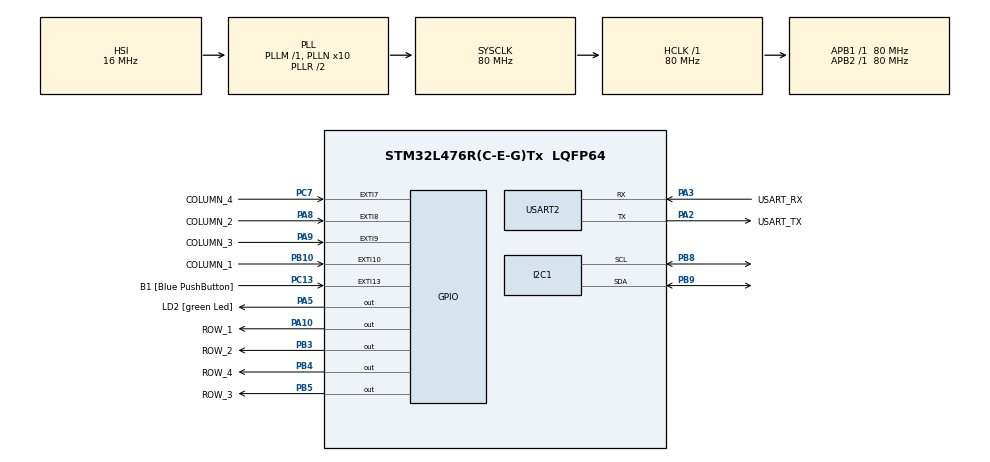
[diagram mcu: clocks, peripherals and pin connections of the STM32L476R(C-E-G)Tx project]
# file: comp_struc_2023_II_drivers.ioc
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I2C1.Timing=0x10909CEC
Mcu.Family=STM32L4
Mcu.Name=STM32L476R(C-E-G)Tx
Mcu.Package=LQFP64
NVIC.EXTI15_10_IRQn=true\:0\:0\:false\:false\:true\:true\:true\:true
NVIC.EXTI9_5_IRQn=true\:0\:0\:false\:false\:true\:true\:true\:true
NVIC.PriorityGroup=NVIC_PRIORITYGROUP_4
NVIC.USART2_IRQn=true\:0\:0\:false\:false\:true\:true\:true\:true
PA10.GPIO_Label=ROW_1
PA10.Signal=GPIO_Output
PA13\ (JTMS-SWDIO).GPIO_Label=TMS
PA13\ (JTMS-SWDIO).Mode=Serial_Wire
PA13\ (JTMS-SWDIO).Signal=SYS_JTMS-SWDIO
PA14\ (JTCK-SWCLK).GPIO_Label=TCK
PA14\ (JTCK-SWCLK).Mode=Serial_Wire
PA14\ (JTCK-SWCLK).Signal=SYS_JTCK-SWCLK
PA2.GPIO_Label=USART_TX
PA2.GPIO_Mode=GPIO_MODE_AF_PP
PA2.GPIO_PuPd=GPIO_NOPULL
PA2.GPIO_Speed=GPIO_SPEED_FREQ_VERY_HIGH
PA2.Mode=Asynchronous
PA2.Signal=USART2_TX
PA3.GPIO_Label=USART_RX
PA3.GPIO_Mode=GPIO_MODE_AF_PP
PA3.GPIO_PuPd=GPIO_NOPULL
PA3.GPIO_Speed=GPIO_SPEED_FREQ_VERY_HIGH
PA3.Mode=Asynchronous
PA3.Signal=USART2_RX
PA5.GPIO_Label=LD2 [green Led]
PA5.GPIO_ModeDefaultOutputPP=GPIO_MODE_OUTPUT_PP
PA5.GPIO_PuPd=GPIO_NOPULL
PA5.GPIO_Speed=GPIO_SPEED_FREQ_LOW
PA5.Signal=GPIO_Output
PA8.GPIO_Label=COLUMN_2
PA8.GPIO_PuPd=GPIO_PULLDOWN
PA8.Signal=GPXTI8
PA9.GPIO_Label=COLUMN_3
PA9.GPIO_PuPd=GPIO_PULLDOWN
PA9.Signal=GPXTI9
PB10.GPIO_Label=COLUMN_1
PB10.GPIO_PuPd=GPIO_PULLDOWN
PB10.Signal=GPXTI10
PB3\ (JTDO-TRACESWO).GPIO_Label=ROW_2
PB3\ (JTDO-TRACESWO).Signal=GPIO_Output
PB4\ (NJTRST).GPIO_Label=ROW_4
PB4\ (NJTRST).Signal=GPIO_Output
PB5.GPIO_Label=ROW_3
PB5.Signal=GPIO_Output
PB8.Mode=I2C
PB8.Signal=I2C1_SCL
PB9.Mode=I2C
PB9.Signal=I2C1_SDA
PC13.GPIO_Label=B1 [Blue PushButton]
PC13.GPIO_ModeDefaultEXTI=GPIO_MODE_IT_FALLING
PC13.GPIO_PuPd=GPIO_NOPULL
PC13.Signal=GPXTI13
PC14-OSC32_IN\ (PC14).Mode=LSE-External-Oscillator
PC14-OSC32_IN\ (PC14).Signal=RCC_OSC32_IN
PC15-OSC32_OUT\ (PC15).Mode=LSE-External-Oscillator
PC15-OSC32_OUT\ (PC15).Signal=RCC_OSC32_OUT
PC7.GPIO_Label=COLUMN_4
PC7.GPIO_PuPd=GPIO_PULLDOWN
PC7.Signal=GPXTI7
PH0-OSC_IN\ (PH0).Signal=RCC_OSC_IN
PH1-OSC_OUT\ (PH1).Signal=RCC_OSC_OUT
ProjectManager.HeapSize=0x200
ProjectManager.StackSize=0x400
ProjectManager.TargetToolchain=STM32CubeIDE
RCC.ADCFreq_Value=64000000
RCC.AHBFreq_Value=80000000
RCC.APB1Freq_Value=80000000
RCC.APB1TimFreq_Value=80000000
RCC.APB2Freq_Value=80000000
RCC.APB2TimFreq_Value=80000000
RCC.CortexFreq_Value=80000000
RCC.HCLKFreq_Value=80000000
RCC.HSE_VALUE=8000000
RCC.HSI_VALUE=16000000
RCC.MSI_VALUE=4000000
RCC.PLLN=10
RCC.PLLSourceVirtual=RCC_PLLSOURCE_HSI
RCC.PREFETCH_ENABLE=1
RCC.SYSCLKFreq_VALUE=80000000
RCC.SYSCLKSource=RCC_SYSCLKSOURCE_PLLCLK
RCC.USBFreq_Value=64000000
RCC.VCOOutputFreq_Value=160000000
USART2.VirtualMode-Asynchronous=VM_ASYNC
board=NUCLEO-L476RG

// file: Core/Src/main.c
/* USER CODE BEGIN Header */
/**
  ******************************************************************************
  * @file           : main.c
  * @brief          : Main program body
  ******************************************************************************
  * @attention
  *
  * Copyright (c) 2023 STMicroelectronics.
  * All rights reserved.
  *
  * This software is licensed under terms that can be found in the LICENSE file
  * in the root directory of this software component.
  * If no LICENSE file comes with this software, it is provided AS-IS.
  *
  ******************************************************************************
  */
/* USER CODE END Header */
#include "main.h"

/* USER CODE BEGIN Includes */
#include "ring_buffer.h"
#include <stdio.h>
#include "ssd1306.h"
#include "ssd1306_fonts.h"
/* USER CODE END Includes */

I2C_HandleTypeDef hi2c1;

UART_HandleTypeDef huart2;

/* USER CODE BEGIN PV */
uint8_t rx_buffer[16];
ring_buffer_t ring_buffer_uart_rx;

uint8_t rx_data;

uint8_t key_event = 0xFF;

/* USER CODE END PV */

void SystemClock_Config(void);
static void MX_GPIO_Init(void);
static void MX_USART2_UART_Init(void);
static void MX_I2C1_Init(void);

/* USER CODE BEGIN 0 */
int _write(int file, char *ptr, int len)
{
  HAL_UART_Transmit(&huart2, (uint8_t *)ptr, len, HAL_MAX_DELAY);
  return len;
}

void HAL_UART_RxCpltCallback(UART_HandleTypeDef *huart)
{
	if (ring_buffer_put(&ring_buffer_uart_rx, rx_data) == 0) {
		printf("Rx buffer is full\r\n");
	}

	HAL_UART_Receive_IT(&huart2, &rx_data, 1);
}

 void HAL_GPIO_EXTI_Callback(uint16_t GPIO_Pin)
{
	key_event = GPIO_Pin;
}

void keypad_init(void)
{
	/* Set the rows high to be detected in the columns by rising interrupt */
	ROW_1_GPIO_Port->BSRR = ROW_1_Pin;
	ROW_2_GPIO_Port->BSRR = ROW_2_Pin;
	ROW_3_GPIO_Port->BSRR = ROW_3_Pin;
	ROW_4_GPIO_Port->BSRR = ROW_4_Pin;
}

uint8_t keypad_handler(uint16_t column_to_evaluate)
{
	uint8_t key_pressed = 0xFF; // Value to return

	/*** Debounce the key press (remove noise in the key) ***/
	#define KEY_DEBOUNCE_MS 300 /*!> Minimum time required for since last press */
	static uint32_t last_pressed_tick = 0;
	if (HAL_GetTick() <= (last_pressed_tick + KEY_DEBOUNCE_MS)) {
		// less than KEY_DEBOUNCE_MS since last press. Probably noise
		return key_pressed; // return 0xFF
	}
	last_pressed_tick = HAL_GetTick();

	/*
	 * 	  uint16_t column_1 = (COLUMN_1_GPIO_Port->IDR & COLUMN_1_Pin);
	  uint16_t column_2 = (COLUMN_2_GPIO_Port->IDR & COLUMN_2_Pin);
	  uint16_t column_3 = (COLUMN_3_GPIO_Port->IDR & COLUMN_3_Pin);
	  uint16_t column_4 = (COLUMN_4_GPIO_Port->IDR & COLUMN_4_Pin);
	  printf("Keys[%x]: %x, %x, %x, %x\r\n",
			  column_to_evaluate, column_1, column_2, column_3, column_4);
	 *
	 */

	  switch (column_to_evaluate) {
	  case COLUMN_1_Pin:
		  ROW_1_GPIO_Port->BSRR = ROW_1_Pin;
		  ROW_2_GPIO_Port->BRR = ROW_2_Pin;
		  ROW_3_GPIO_Port->BRR = ROW_3_Pin;
		  ROW_4_GPIO_Port->BRR = ROW_4_Pin;
		  if (COLUMN_1_GPIO_Port->IDR & COLUMN_1_Pin) key_pressed = 0x01;

		  ROW_1_GPIO_Port->BRR = ROW_1_Pin;
		  ROW_2_GPIO_Port->BSRR = ROW_2_Pin;
		  if (COLUMN_1_GPIO_Port->IDR & COLUMN_1_Pin) key_pressed = 0x04;

		  ROW_2_GPIO_Port->BRR = ROW_2_Pin;
		  ROW_3_GPIO_Port->BSRR = ROW_3_Pin;
		  if (COLUMN_1_GPIO_Port->IDR & COLUMN_1_Pin) key_pressed = 0x07;

		  ROW_3_GPIO_Port->BRR = ROW_3_Pin;
		  ROW_4_GPIO_Port->BSRR = ROW_4_Pin;
		  if (COLUMN_1_GPIO_Port->IDR & COLUMN_1_Pin) key_pressed = 0x0E;
	  	  break;

	  case COLUMN_2_Pin:
		  ROW_1_GPIO_Port->BRR = ROW_1_Pin;
		  ROW_2_GPIO_Port->BSRR = ROW_2_Pin;
		  ROW_3_GPIO_Port->BRR = ROW_3_Pin;
		  ROW_4_GPIO_Port->BRR = ROW_4_Pin;
		  if (COLUMN_1_GPIO_Port->IDR & COLUMN_1_Pin) key_pressed = 0x01;

		  ROW_2_GPIO_Port->BRR = ROW_1_Pin;
		  ROW_1_GPIO_Port->BSRR = ROW_2_Pin;
		  if (COLUMN_1_GPIO_Port->IDR & COLUMN_1_Pin) key_pressed = 0x04;

		  ROW_1_GPIO_Port->BRR = ROW_2_Pin;
		  ROW_3_GPIO_Port->BSRR = ROW_3_Pin;
		  if (COLUMN_1_GPIO_Port->IDR & COLUMN_1_Pin) key_pressed = 0x07;

		  ROW_3_GPIO_Port->BRR = ROW_3_Pin;
		  ROW_4_GPIO_Port->BSRR = ROW_4_Pin;
		  if (COLUMN_1_GPIO_Port->IDR & COLUMN_1_Pin) key_pressed = 0x0E;
	  	  break;

	  case COLUMN_3_Pin:
		  ROW_1_GPIO_Port->BRR = ROW_1_Pin;
		  ROW_2_GPIO_Port->BRR = ROW_2_Pin;
		  ROW_3_GPIO_Port->BSRR = ROW_3_Pin;
		  ROW_4_GPIO_Port->BRR = ROW_4_Pin;
		  if (COLUMN_1_GPIO_Port->IDR & COLUMN_1_Pin) key_pressed = 0x01;

		  ROW_3_GPIO_Port->BRR = ROW_1_Pin;
		  ROW_1_GPIO_Port->BSRR = ROW_2_Pin;
		  if (COLUMN_1_GPIO_Port->IDR & COLUMN_1_Pin) key_pressed = 0x04;

		  ROW_1_GPIO_Port->BRR = ROW_2_Pin;
		  ROW_2_GPIO_Port->BSRR = ROW_3_Pin;
		  if (COLUMN_1_GPIO_Port->IDR & COLUMN_1_Pin) key_pressed = 0x07;

		  ROW_2_GPIO_Port->BRR = ROW_3_Pin;
		  ROW_4_GPIO_Port->BSRR = ROW_4_Pin;
		  if (COLUMN_1_GPIO_Port->IDR & COLUMN_1_Pin) key_pressed = 0x0E;
	  	  break;

	  case COLUMN_4_Pin:
		  ROW_1_GPIO_Port->BRR = ROW_1_Pin;
		  ROW_2_GPIO_Port->BRR = ROW_2_Pin;
		  ROW_3_GPIO_Port->BRR = ROW_3_Pin;
		  ROW_4_GPIO_Port->BSRR = ROW_4_Pin;
		  if (COLUMN_1_GPIO_Port->IDR & COLUMN_1_Pin) key_pressed = 0x01;

		  ROW_4_GPIO_Port->BRR = ROW_1_Pin;
		  ROW_1_GPIO_Port->BSRR = ROW_2_Pin;
		  if (COLUMN_1_GPIO_Port->IDR & COLUMN_1_Pin) key_pressed = 0x04;

		  ROW_1_GPIO_Port->BRR = ROW_2_Pin;
		  ROW_2_GPIO_Port->BSRR = ROW_3_Pin;
		  if (COLUMN_1_GPIO_Port->IDR & COLUMN_1_Pin) key_pressed = 0x07;

		  ROW_2_GPIO_Port->BRR = ROW_3_Pin;
		  ROW_3_GPIO_Port->BSRR = ROW_4_Pin;
		  if (COLUMN_1_GPIO_Port->IDR & COLUMN_1_Pin) key_pressed = 0x0E;
	  	  break;

	  default:
	  	  break;
	  }
	  keypad_init();
	  return key_pressed;
}

/* USER CODE END 0 */

int main(void)
{

  /* MCU Configuration--------------------------------------------------------*/

  /* Reset of all peripherals, Initializes the Flash interface and the Systick. */
  HAL_Init();

  /* Configure the system clock */
  SystemClock_Config();

  /* Initialize all configured peripherals */
  MX_GPIO_Init();
  MX_USART2_UART_Init();
  MX_I2C1_Init();
  /* USER CODE BEGIN 2 */
ring_buffer_init(&ring_buffer_uart_rx,rx_buffer,16);

HAL_UART_Receive_IT(&huart2, &rx_data, 1);
  /* USER CODE END 2 */

  /* Infinite loop */
  /* USER CODE BEGIN WHILE */

/*
 * display testing
 *
 *ssd1306_Init();
  ssd1306_Fill(Black);
  ssd1306_WriteString("Hello World", Font_7x10, White);
  ssd1306_UpdateScreen();
 */

  while (1)
  {
	  if (key_event != 0xFF) { // check if there is a event from the EXTi callback
	  		  uint16_t key_pressed = keypad_handler(key_event); // call the keypad handler
	  		  printf("Key pressed: %x\r\n", key_pressed); // print the key pressed
	  		  key_event = 0xFF; // clean the event
	  }
    /* USER CODE END WHILE */

  }
}

void SystemClock_Config(void)
{
  RCC_OscInitTypeDef RCC_OscInitStruct = {0};
  RCC_ClkInitTypeDef RCC_ClkInitStruct = {0};

  /** Configure the main internal regulator output voltage
  */
  if (HAL_PWREx_ControlVoltageScaling(PWR_REGULATOR_VOLTAGE_SCALE1) != HAL_OK)
  {
    Error_Handler();
  }

  /** Initializes the RCC Oscillators according to the specified parameters
  * in the RCC_OscInitTypeDef structure.
  */
  RCC_OscInitStruct.OscillatorType = RCC_OSCILLATORTYPE_HSI;
  RCC_OscInitStruct.HSIState = RCC_HSI_ON;
  RCC_OscInitStruct.HSICalibrationValue = RCC_HSICALIBRATION_DEFAULT;
  RCC_OscInitStruct.PLL.PLLState = RCC_PLL_ON;
  RCC_OscInitStruct.PLL.PLLSource = RCC_PLLSOURCE_HSI;
  RCC_OscInitStruct.PLL.PLLM = 1;
  RCC_OscInitStruct.PLL.PLLN = 10;
  RCC_OscInitStruct.PLL.PLLP = RCC_PLLP_DIV7;
  RCC_OscInitStruct.PLL.PLLQ = RCC_PLLQ_DIV2;
  RCC_OscInitStruct.PLL.PLLR = RCC_PLLR_DIV2;
  if (HAL_RCC_OscConfig(&RCC_OscInitStruct) != HAL_OK)
  {
    Error_Handler();
  }

  /** Initializes the CPU, AHB and APB buses clocks
  */
  RCC_ClkInitStruct.ClockType = RCC_CLOCKTYPE_HCLK|RCC_CLOCKTYPE_SYSCLK
                              |RCC_CLOCKTYPE_PCLK1|RCC_CLOCKTYPE_PCLK2;
  RCC_ClkInitStruct.SYSCLKSource = RCC_SYSCLKSOURCE_PLLCLK;
  RCC_ClkInitStruct.AHBCLKDivider = RCC_SYSCLK_DIV1;
  RCC_ClkInitStruct.APB1CLKDivider = RCC_HCLK_DIV1;
  RCC_ClkInitStruct.APB2CLKDivider = RCC_HCLK_DIV1;

  if (HAL_RCC_ClockConfig(&RCC_ClkInitStruct, FLASH_LATENCY_4) != HAL_OK)
  {
    Error_Handler();
  }
}

static void MX_I2C1_Init(void)
{

  hi2c1.Instance = I2C1;
  hi2c1.Init.Timing = 0x10909CEC;
  hi2c1.Init.OwnAddress1 = 0;
  hi2c1.Init.AddressingMode = I2C_ADDRESSINGMODE_7BIT;
  hi2c1.Init.DualAddressMode = I2C_DUALADDRESS_DISABLE;
  hi2c1.Init.OwnAddress2 = 0;
  hi2c1.Init.OwnAddress2Masks = I2C_OA2_NOMASK;
  hi2c1.Init.GeneralCallMode = I2C_GENERALCALL_DISABLE;
  hi2c1.Init.NoStretchMode = I2C_NOSTRETCH_DISABLE;
  if (HAL_I2C_Init(&hi2c1) != HAL_OK)
  {
    Error_Handler();
  }

  /** Configure Analogue filter
  */
  if (HAL_I2CEx_ConfigAnalogFilter(&hi2c1, I2C_ANALOGFILTER_ENABLE) != HAL_OK)
  {
    Error_Handler();
  }

  /** Configure Digital filter
  */
  if (HAL_I2CEx_ConfigDigitalFilter(&hi2c1, 0) != HAL_OK)
  {
    Error_Handler();
  }

}

static void MX_USART2_UART_Init(void)
{

  huart2.Instance = USART2;
  huart2.Init.BaudRate = 115200;
  huart2.Init.WordLength = UART_WORDLENGTH_8B;
  huart2.Init.StopBits = UART_STOPBITS_1;
  huart2.Init.Parity = UART_PARITY_NONE;
  huart2.Init.Mode = UART_MODE_TX_RX;
  huart2.Init.HwFlowCtl = UART_HWCONTROL_NONE;
  huart2.Init.OverSampling = UART_OVERSAMPLING_16;
  huart2.Init.OneBitSampling = UART_ONE_BIT_SAMPLE_DISABLE;
  huart2.AdvancedInit.AdvFeatureInit = UART_ADVFEATURE_NO_INIT;
  if (HAL_UART_Init(&huart2) != HAL_OK)
  {
    Error_Handler();
  }

}

static void MX_GPIO_Init(void)
{
  GPIO_InitTypeDef GPIO_InitStruct = {0};

  /* GPIO Ports Clock Enable */
  __HAL_RCC_GPIOC_CLK_ENABLE();
  __HAL_RCC_GPIOH_CLK_ENABLE();
  __HAL_RCC_GPIOA_CLK_ENABLE();
  __HAL_RCC_GPIOB_CLK_ENABLE();

  /*Configure GPIO pin Output Level */
  HAL_GPIO_WritePin(GPIOA, LD2_Pin|ROW_1_Pin, GPIO_PIN_RESET);

  /*Configure GPIO pin Output Level */
  HAL_GPIO_WritePin(GPIOB, ROW_2_Pin|ROW_4_Pin|ROW_3_Pin, GPIO_PIN_RESET);

  /*Configure GPIO pin : B1_Pin */
  GPIO_InitStruct.Pin = B1_Pin;
  GPIO_InitStruct.Mode = GPIO_MODE_IT_FALLING;
  GPIO_InitStruct.Pull = GPIO_NOPULL;
  HAL_GPIO_Init(B1_GPIO_Port, &GPIO_InitStruct);

  /*Configure GPIO pins : LD2_Pin ROW_1_Pin */
  GPIO_InitStruct.Pin = LD2_Pin|ROW_1_Pin;
  GPIO_InitStruct.Mode = GPIO_MODE_OUTPUT_PP;
  GPIO_InitStruct.Pull = GPIO_NOPULL;
  GPIO_InitStruct.Speed = GPIO_SPEED_FREQ_LOW;
  HAL_GPIO_Init(GPIOA, &GPIO_InitStruct);

  /*Configure GPIO pin : COLUMN_1_Pin */
  GPIO_InitStruct.Pin = COLUMN_1_Pin;
  GPIO_InitStruct.Mode = GPIO_MODE_IT_RISING;
  GPIO_InitStruct.Pull = GPIO_PULLDOWN;
  HAL_GPIO_Init(COLUMN_1_GPIO_Port, &GPIO_InitStruct);

  /*Configure GPIO pin : COLUMN_4_Pin */
  GPIO_InitStruct.Pin = COLUMN_4_Pin;
  GPIO_InitStruct.Mode = GPIO_MODE_IT_RISING;
  GPIO_InitStruct.Pull = GPIO_PULLDOWN;
  HAL_GPIO_Init(COLUMN_4_GPIO_Port, &GPIO_InitStruct);

  /*Configure GPIO pins : COLUMN_2_Pin COLUMN_3_Pin */
  GPIO_InitStruct.Pin = COLUMN_2_Pin|COLUMN_3_Pin;
  GPIO_InitStruct.Mode = GPIO_MODE_IT_RISING;
  GPIO_InitStruct.Pull = GPIO_PULLDOWN;
  HAL_GPIO_Init(GPIOA, &GPIO_InitStruct);

  /*Configure GPIO pins : ROW_2_Pin ROW_4_Pin ROW_3_Pin */
  GPIO_InitStruct.Pin = ROW_2_Pin|ROW_4_Pin|ROW_3_Pin;
  GPIO_InitStruct.Mode = GPIO_MODE_OUTPUT_PP;
  GPIO_InitStruct.Pull = GPIO_NOPULL;
  GPIO_InitStruct.Speed = GPIO_SPEED_FREQ_LOW;
  HAL_GPIO_Init(GPIOB, &GPIO_InitStruct);

  /* EXTI interrupt init*/
  HAL_NVIC_SetPriority(EXTI9_5_IRQn, 0, 0);
  HAL_NVIC_EnableIRQ(EXTI9_5_IRQn);

  HAL_NVIC_SetPriority(EXTI15_10_IRQn, 0, 0);
  HAL_NVIC_EnableIRQ(EXTI15_10_IRQn);

}

void Error_Handler(void)
{
  __disable_irq();
  while (1)
  {
  }
}
